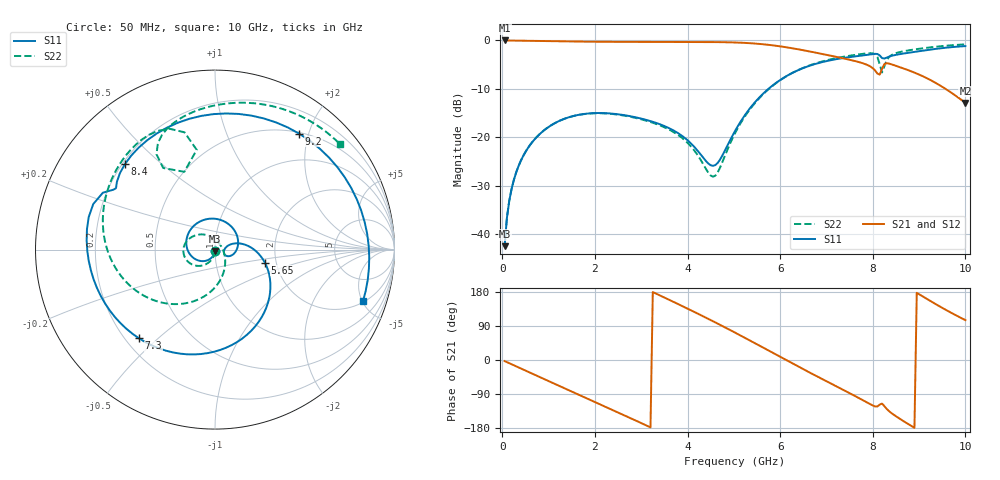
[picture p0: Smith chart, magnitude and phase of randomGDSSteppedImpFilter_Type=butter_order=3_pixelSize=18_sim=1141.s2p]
! freq	dB(S11)	phase(S11)	dB(S12)	phase(S12)
!  dB(S21)	phase(S21)	dB(S22)	phase(S22)
!S-par simulation data
#  GHz  S  DB  R 50
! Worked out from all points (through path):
!   200 points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, 50 MHz to 10 GHz, reference 50 ohm
!   highest |S21| = -0.01 dB at 50 MHz (marker M1); lowest = -12.9 dB at 10 GHz (marker M2)
!   group delay of S21, straight-line fit = 171 ps
!   lowest |S11| = -42.5 dB at 50 MHz (marker M3), VSWR 1.02, Z = 50 - j0.746 ohm
!   |S11| at or under -10 dB: start of sweep to 5.749 GHz
!   |S22| runs from -42.5 to -0.8 dB; largest |S21 - S12| = 0
!   S11 on the Smith chart (normalised r, x): 50 MHz: 1.00, -0.01; 5.65 GHz: 1.74, -0.27; 7.3 GHz: 0.25, -0.44; 8.4 GHz: 0.21, +0.38; 9.2 GHz: 0.52, +1.85; 10 GHz: 2.07, -5.05
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0.05  -42.54 -91.6  -0.01 -2.8  -0.01 -2.8  -42.53 -90.5
0.2  -30.73 -103.1  -0.02 -11.2  -0.02 -11.2  -30.72 -98.7
0.5  -23.07 -123.9  -0.06 -27.9  -0.06 -27.9  -23.05 -112.7
1.15  -17.02 -168.3  -0.16 -63.8  -0.16 -63.8  -17.02 -140.8
1.75  -15.22 149.3  -0.25 -96.8  -0.25 -96.8  -15.25 -164.5
2.65  -15.48 79.9  -0.30 -146.7  -0.30 -146.7  -15.57 165.4
3.4  -17.32 18.7  -0.32 170.7  -0.32 170.7  -17.55 142.7
4.55  -25.93 -9.4  -0.34 102.3  -0.34 102.3  -28.17 32.2
5.05  -18.31 16.7  -0.43 70.7  -0.43 70.7  -18.74 -62.3
5.65  -10.85 -14.6  -0.81 31.4  -0.81 31.4  -10.96 -106.4
6.15  -7.30 -48.5  -1.44 -1.6  -1.44 -1.6  -7.32 -137.8
6.7  -5.04 -87.1  -2.40 -37.1  -2.40 -37.1  -4.95 -170.2
7.3  -3.73 -130.6  -3.58 -74.9  -3.58 -74.9  -3.49 157.0
8  -2.82 170.9  -5.74 -120.1  -5.74 -120.1  -2.68 115.7
8.15  -3.09 153.1  -7.08 -117.7  -7.08 -117.7  -4.96 100.4
8.2  -3.65 149.4  -5.86 -115.0  -5.86 -115.0  -6.63 111.6
8.35  -3.36 141.2  -4.78 -134.8  -4.78 -134.8  -3.44 118.3
8.4  -3.20 136.6  -4.93 -139.8  -4.93 -139.8  -3.06 114.9
8.8  -2.51 95.8  -6.27 -171.6  -6.27 -171.6  -2.01 93.5
9.2  -1.96 54.0  -7.96 158.8  -7.96 158.8  -1.48 75.2
9.6  -1.48 14.9  -10.19 130.8  -10.19 130.8  -1.08 57.4
10  -1.18 -19.3  -12.92 105.3  -12.92 105.3  -0.81 40.2
